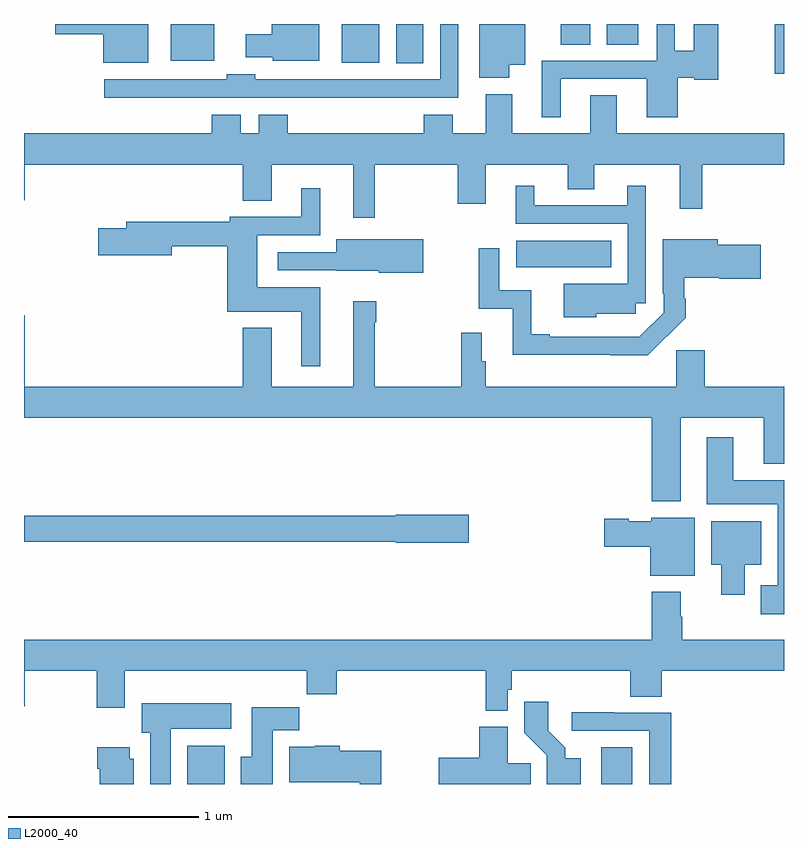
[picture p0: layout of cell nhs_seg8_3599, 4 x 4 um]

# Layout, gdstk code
import gdstk
lib = gdstk.Library(unit=1e-6, precision=1e-09)
def R(c, l, rs):  # rectangles x0, y0, x1, y1
    for r in rs: c.add(gdstk.rectangle(r[:2], r[2:], *l))
def P(c, l, *ps):  # polygons
    for p in ps: c.add(gdstk.Polygon(p, *l))
L2000_40 = (2000, 40)

nhs_seg8_3599 = lib.new_cell('nhs_seg8_3599')
R(nhs_seg8_3599, L2000_40, [(333.86,1119.9,334.057,1120.102), (336.038,1119.9,336.202,1120.094), (335.592,1122.62,336.092,1122.76), (336.95,1123.639,337,1123.9), (334.958,1123.693,335.101,1123.9), (334.673,1123.697,334.87,1123.9), (333.773,1123.706,334,1123.9), (335.825,1123.792,335.98,1123.9), (336.068,1123.792,336.232,1123.9)])
P(nhs_seg8_3599, L2000_40, [(335.554,1123.685),(335.638,1123.685),(335.638,1123.9),(335.396,1123.9),(335.396,1123.617),(335.554,1123.617)],
  [(335.824,1123.611),(336.278,1123.611),(336.278,1123.41),(336.44,1123.41),(336.44,1123.618),(336.528,1123.618),(336.528,1123.607),(336.654,1123.607),(336.654,1123.9),(336.524,1123.9),(336.524,1123.76),(336.426,1123.76),(336.426,1123.9),(336.33,1123.9),(336.33,1123.707),(335.726,1123.707),(335.726,1123.41),(335.824,1123.41)],
  [(334.555,1123.9),(334.304,1123.9),(334.304,1123.846),(334.167,1123.846),(334.167,1123.724),(334.308,1123.724),(334.308,1123.706),(334.555,1123.706)],
  [(333.655,1123.9),(333.164,1123.9),(333.164,1123.847),(333.416,1123.847),(333.416,1123.697),(333.655,1123.697)],
  [(333.968,1123.512),(334.471,1123.512),(334.471,1123.511),(335.021,1123.511),(335.021,1123.512),(335.286,1123.512),(335.286,1123.9),(335.19,1123.9),(335.19,1123.608),(334.218,1123.608),(334.218,1123.636),(334.068,1123.636),(334.068,1123.608),(333.423,1123.608),(333.423,1123.511),(333.968,1123.511)],
  [(334.847,1123.16),(335.284,1123.16),(335.284,1122.954),(335.431,1122.954),(335.431,1123.16),(335.861,1123.16),(335.861,1123.03),(336.001,1123.03),(336.001,1123.16),(336.452,1123.16),(336.452,1122.927),(336.569,1122.927),(336.569,1123.16),(337,1123.16),(337,1123.324),(336.121,1123.324),(336.121,1123.526),(335.981,1123.526),(335.981,1123.324),(335.569,1123.324),(335.569,1123.531),(335.429,1123.531),(335.429,1123.324),(335.257,1123.324),(335.257,1123.423),(335.105,1123.423),(335.105,1123.324),(334.388,1123.324),(334.388,1123.423),(334.235,1123.423),(334.235,1123.324),(334.141,1123.324),(334.141,1123.423),(333.989,1123.423),(333.989,1123.324),(333,1123.324),(333,1122.972),(333.004,1122.972),(333.004,1123.16),(334.151,1123.16),(334.151,1122.97),(334.303,1122.97),(334.303,1123.16),(334.733,1123.16),(334.733,1122.879),(334.847,1122.879)],
  [(336.012,1122.374),(336.219,1122.374),(336.219,1122.429),(336.273,1122.429),(336.273,1123.048),(336.176,1123.048),(336.176,1122.945),(335.686,1122.945),(335.686,1123.048),(335.588,1123.048),(335.588,1122.849),(336.177,1122.849),(336.177,1122.532),(335.84,1122.532),(335.84,1122.356),(336.012,1122.356)],
  [(334.558,1122.514),(334.228,1122.514),(334.228,1122.789),(334.558,1122.789),(334.558,1123.036),(334.46,1123.036),(334.46,1122.885),(334.082,1122.885),(334.082,1122.859),(333.539,1122.859),(333.539,1122.825),(333.39,1122.825),(333.39,1122.683),(333.778,1122.683),(333.778,1122.73),(334.07,1122.73),(334.07,1122.386),(334.46,1122.386),(334.46,1122.099),(334.558,1122.099)],
  [(335.101,1122.768),(334.643,1122.768),(334.643,1122.699),(334.335,1122.699),(334.335,1122.603),(334.647,1122.603),(334.647,1122.602),(334.866,1122.602),(334.866,1122.59),(335.101,1122.59)],
  [(336.482,1122.353),(336.482,1122.455),(336.475,1122.455),(336.475,1122.565),(336.66,1122.565),(336.66,1122.56),(336.877,1122.56),(336.877,1122.738),(336.652,1122.738),(336.652,1122.766),(336.363,1122.766),(336.363,1122.481),(336.366,1122.481),(336.366,1122.381),(336.238,1122.253),(336.137,1122.253),(336.137,1122.255),(335.767,1122.255),(335.767,1122.268),(335.671,1122.268),(335.671,1122.498),(335.502,1122.498),(335.502,1122.721),(335.394,1122.721),(335.394,1122.402),(335.573,1122.402),(335.573,1122.158),(336.085,1122.158),(336.085,1122.156),(336.284,1122.156)],
  [(336.457,1121.828),(336.893,1121.828),(336.893,1121.585),(337,1121.585),(337,1121.992),(336.584,1121.992),(336.584,1122.183),(336.433,1122.183),(336.433,1121.992),(335.429,1121.992),(335.429,1122.125),(335.41,1122.125),(335.41,1122.274),(335.301,1122.274),(335.301,1121.992),(334.847,1121.992),(334.847,1122.329),(334.855,1122.329),(334.855,1122.442),(334.733,1122.442),(334.733,1121.992),(334.303,1121.992),(334.303,1122.301),(334.151,1122.301),(334.151,1121.992),(333.004,1121.992),(333.004,1122.367),(333,1122.367),(333,1121.828),(336.305,1121.828),(336.305,1121.387),(336.457,1121.387)],
  [(337,1121.5),(336.733,1121.5),(336.733,1121.725),(336.593,1121.725),(336.593,1121.372),(336.968,1121.372),(336.968,1120.945),(336.878,1120.945),(336.878,1120.793),(337,1120.793)],
  [(335.341,1121.318),(334.956,1121.318),(334.956,1121.312),(333,1121.312),(333,1121.176),(334.956,1121.176),(334.956,1121.171),(335.341,1121.171)],
  [(336.529,1121.302),(336.3,1121.302),(336.3,1121.284),(336.183,1121.284),(336.183,1121.297),(336.054,1121.297),(336.054,1121.15),(336.296,1121.15),(336.296,1120.997),(336.529,1120.997)],
  [(336.793,1121.054),(336.88,1121.054),(336.88,1121.284),(336.617,1121.284),(336.617,1121.054),(336.671,1121.054),(336.671,1120.896),(336.793,1120.896)],
  [(335.547,1120.395),(335.567,1120.395),(335.567,1120.496),(336.191,1120.496),(336.191,1120.36),(336.356,1120.36),(336.356,1120.496),(337,1120.496),(337,1120.66),(336.465,1120.66),(336.465,1120.781),(336.457,1120.781),(336.457,1120.912),(336.305,1120.912),(336.305,1120.66),(333,1120.66),(333,1120.308),(333.004,1120.308),(333.004,1120.496),(333.382,1120.496),(333.382,1120.302),(333.529,1120.302),(333.529,1120.496),(334.489,1120.496),(334.489,1120.372),(334.646,1120.372),(334.646,1120.496),(335.431,1120.496),(335.431,1120.286),(335.547,1120.286)],
  [(335.929,1120.036),(335.848,1120.036),(335.848,1120.091),(335.758,1120.181),(335.758,1120.333),(335.632,1120.333),(335.632,1120.17),(335.751,1120.051),(335.751,1119.9),(335.929,1119.9)],
  [(333.772,1120.19),(334.09,1120.19),(334.09,1120.324),(333.62,1120.324),(333.62,1120.17),(333.665,1120.17),(333.665,1119.9),(333.772,1119.9)],
  [(334.309,1120.184),(334.448,1120.184),(334.448,1120.303),(334.199,1120.303),(334.199,1120.044),(334.142,1120.044),(334.142,1119.9),(334.309,1119.9)],
  [(336.407,1120.275),(336.107,1120.275),(336.107,1120.278),(335.883,1120.278),(335.883,1120.179),(336.291,1120.179),(336.291,1119.9),(336.407,1119.9)],
  [(335.666,1120.01),(335.545,1120.01),(335.545,1120.201),(335.396,1120.201),(335.396,1120.038),(335.184,1120.038),(335.184,1119.9),(335.666,1119.9)],
  [(334.879,1120.074),(334.661,1120.074),(334.661,1120.102),(334.53,1120.102),(334.53,1120.096),(334.397,1120.096),(334.397,1119.908),(334.766,1119.908),(334.766,1119.9),(334.879,1119.9)],
  [(333.577,1120.032),(333.556,1120.032),(333.556,1120.093),(333.386,1120.093),(333.386,1119.98),(333.398,1119.98),(333.398,1119.9),(333.577,1119.9)])

lib.write_gds('nhs_seg8_3599.gds')
